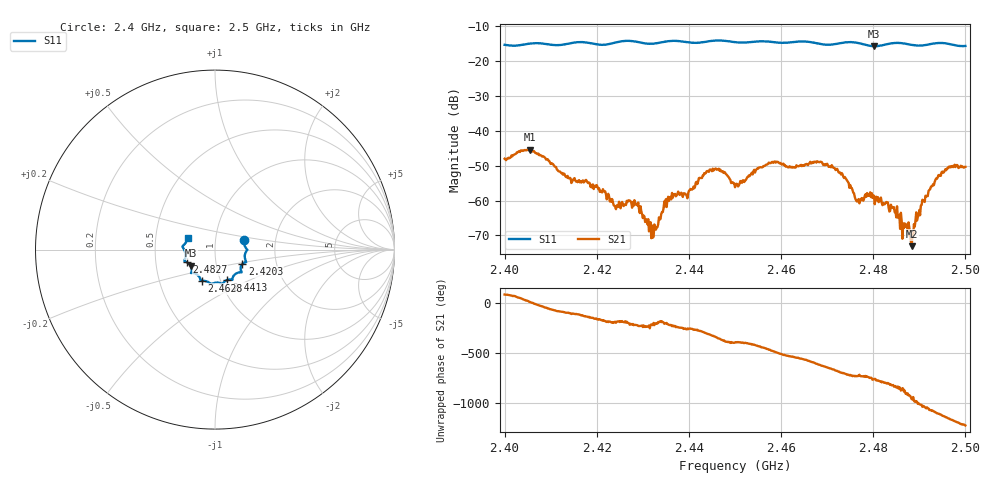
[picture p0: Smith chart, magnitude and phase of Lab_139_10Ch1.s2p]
# Hz S RI R 50
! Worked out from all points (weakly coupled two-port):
!   601 points, 2.4 GHz to 2.5 GHz, reference 50 ohm
!   highest |S21| = -45.46 dB at 2.4055 GHz (marker M1); lowest = -73.1 dB at 2.4883 GHz (marker M2)
!   lowest |S11| = -15.7 dB at 2.4802 GHz (marker M3), VSWR 1.39, Z = 37.5 - j6.95 ohm
!   |S11| at or under -10 dB: start of sweep to end of sweep
!   S12 and S22 are empty: the file has one direction only
!   S11 on the Smith chart (normalised r, x): 2.4 GHz: 1.38, +0.15; 2.4203 GHz: 1.34, -0.22; 2.4413 GHz: 1.08, -0.38; 2.4628 GHz: 0.82, -0.29; 2.4827 GHz: 0.72, -0.11; 2.5 GHz: 0.73, +0.10
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2.4e9  0.1627 0.0527  0.000287 0.00397  0 0  0 0
2.4055e9  0.178 0.00211  0.00523 0.00108  0 0  0 0
2.416667e9  0.1736 -0.0695  -0.00101 -0.0015  0 0  0 0
2.420333e9  0.1526 -0.0798  -0.00142 -0.000357  0 0  0 0
2.428667e9  0.1406 -0.1264  -0.00067 0.000571  0 0  0 0
2.431833e9  0.1095 -0.1392  -0.000244 0.000154  0 0  0 0
2.433333e9  0.1001 -0.1517  -0.000452 6.96e-05  0 0  0 0
2.435833e9  0.0979 -0.1673  -0.000838 0.000717  0 0  0 0
2.441333e9  0.0674 -0.1695  -5.43e-05 0.00158  0 0  0 0
2.446e9  0.0419 -0.1926  0.00266 0.000742  0 0  0 0
2.45e9  0.0244 -0.1852  0.00129 -0.000863  0 0  0 0
2.457667e9  -0.0282 -0.1871  -0.00117 -0.00324  0 0  0 0
2.462833e9  -0.0714 -0.1736  -0.00301 1.67e-05  0 0  0 0
2.466667e9  -0.0812 -0.1673  -0.0022 0.00272  0 0  0 0
2.472667e9  -0.1239 -0.1302  0.00212 0.00132  0 0  0 0
2.4765e9  -0.1322 -0.1262  0.000943 -0.000211  0 0  0 0
2.480167e9  -0.1361 -0.0903  0.000844 -0.000807  0 0  0 0
2.482667e9  -0.1574 -0.0708  0.000143 -0.000905  0 0  0 0
2.483333e9  -0.1627 -0.0684  7.26e-05 -0.000794  0 0  0 0
2.488333e9  -0.165 -0.0435  -0.000105 0.000195  0 0  0 0
2.494e9  -0.1809 0.0148  0.00195 -0.000932  0 0  0 0
2.5e9  -0.1517 0.0641  -0.00253 -0.00169  0 0  0 0
